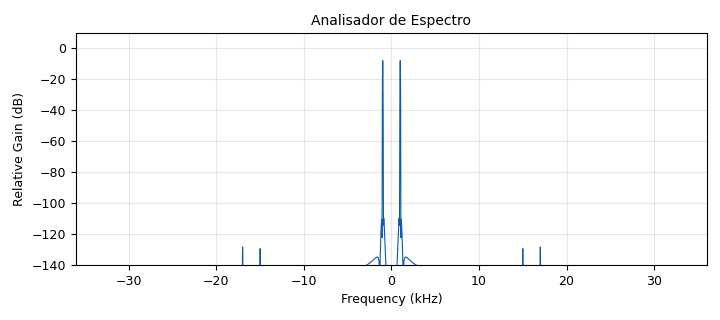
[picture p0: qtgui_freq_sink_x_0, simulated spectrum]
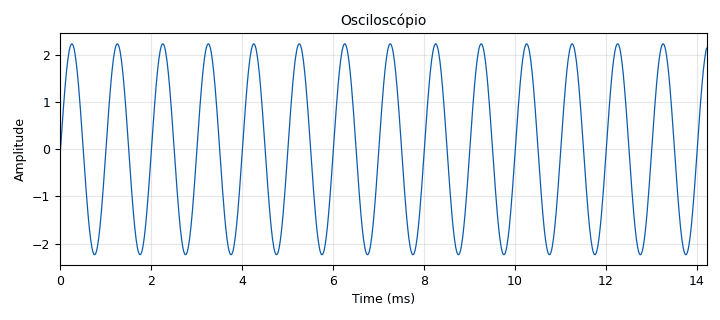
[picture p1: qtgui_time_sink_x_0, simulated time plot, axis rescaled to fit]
options:
  parameters:
    generate_options: qt_gui
    id: m180108140_Exp01_AR01
    output_language: python
    title: AR01
  states: {}

blocks:
- name: fase
  id: variable_qtgui_range
  parameters:
    gui_hint: (5,1,1,2)
    orient: Qt.Horizontal
    start: '0'
    step: '5'
    stop: '360'
    value: '0'
  states: {}
- name: n
  id: variable
  parameters:
    value: '72'
  states: {}
- name: samp_rate
  id: variable
  parameters:
    value: '72000'
  states: {}
- name: analog_sig_source_x_0
  id: analog_sig_source_x
  parameters:
    amp: '1'
    freq: '1000'
    offset: '0'
    phase: '0'
    samp_rate: samp_rate
    type: float
    waveform: analog.GR_SIN_WAVE
  states: {}
- name: analog_sig_source_x_0_0
  id: analog_sig_source_x
  parameters:
    amp: '2'
    freq: '1000'
    offset: '0'
    phase: '0'
    samp_rate: samp_rate
    type: float
    waveform: analog.GR_COS_WAVE
  states: {}
- name: analog_sig_source_x_0_0_0
  id: analog_sig_source_x
  parameters:
    amp: '2'
    freq: '1000'
    offset: '-1'
    phase: '0'
    samp_rate: samp_rate
    type: float
    waveform: analog.GR_SQR_WAVE
  states: {state: disabled}
- name: analog_sig_source_x_0_0_0_0
  id: analog_sig_source_x
  parameters:
    amp: '2'
    freq: '1000'
    offset: '-1'
    phase: '0'
    samp_rate: samp_rate
    type: float
    waveform: analog.GR_TRI_WAVE
  states: {state: disabled}
- name: blocks_add_xx_0
  id: blocks_add_xx
  parameters:
    type: float
  states: {}
- name: blocks_delay_0
  id: blocks_delay
  parameters:
    delay: int(n*fase/360)
    type: float
  states: {}
- name: blocks_rms_xx_0
  id: blocks_rms_xx
  parameters:
    alias: Valor RMS
    alpha: '0.0001'
    type: float
  states: {}
- name: blocks_throttle_0
  id: blocks_throttle
  parameters:
    samples_per_second: samp_rate
    type: float
  states: {}
- name: blocks_throttle_0_0
  id: blocks_throttle
  parameters:
    samples_per_second: samp_rate
    type: float
  states: {}
- name: qtgui_freq_sink_x_0
  id: qtgui_freq_sink_x
  parameters:
    bw: samp_rate
    ctrlpanel: 'True'
    fc: '0'
    fftsize: '4096'
    grid: 'True'
    gui_hint: (1,2,4,1)
    name: '"Analisador de Espectro"'
    type: float
    wintype: firdes.WIN_BLACKMAN_hARRIS
  states: {}
- name: qtgui_number_sink_0
  id: qtgui_number_sink
  parameters:
    graph_type: qtgui.NUM_GRAPH_HORIZ
    gui_hint: (6,1,1,2)
    label1: RMS=
    max: '3'
    min: '-3'
    type: float
  states: {}
- name: qtgui_time_sink_x_0
  id: qtgui_time_sink_x
  parameters:
    ctrlpanel: 'True'
    grid: 'True'
    gui_hint: (1,1,4,1)
    name: Osciloscópio
    size: '1024'
    srate: samp_rate
    tr_mode: qtgui.TRIG_MODE_AUTO
    type: float
    yunit: '"V"'
  states: {}

connections:
- [analog_sig_source_x_0, '0', blocks_throttle_0, '0']
- [analog_sig_source_x_0_0, '0', blocks_throttle_0_0, '0']
- [blocks_add_xx_0, '0', blocks_rms_xx_0, '0']
- [blocks_add_xx_0, '0', qtgui_freq_sink_x_0, '0']
- [blocks_add_xx_0, '0', qtgui_time_sink_x_0, '0']
- [blocks_delay_0, '0', blocks_add_xx_0, '1']
- [blocks_rms_xx_0, '0', qtgui_number_sink_0, '0']
- [blocks_throttle_0, '0', blocks_add_xx_0, '0']
- [blocks_throttle_0_0, '0', blocks_delay_0, '0']

metadata:
  file_format: 1
